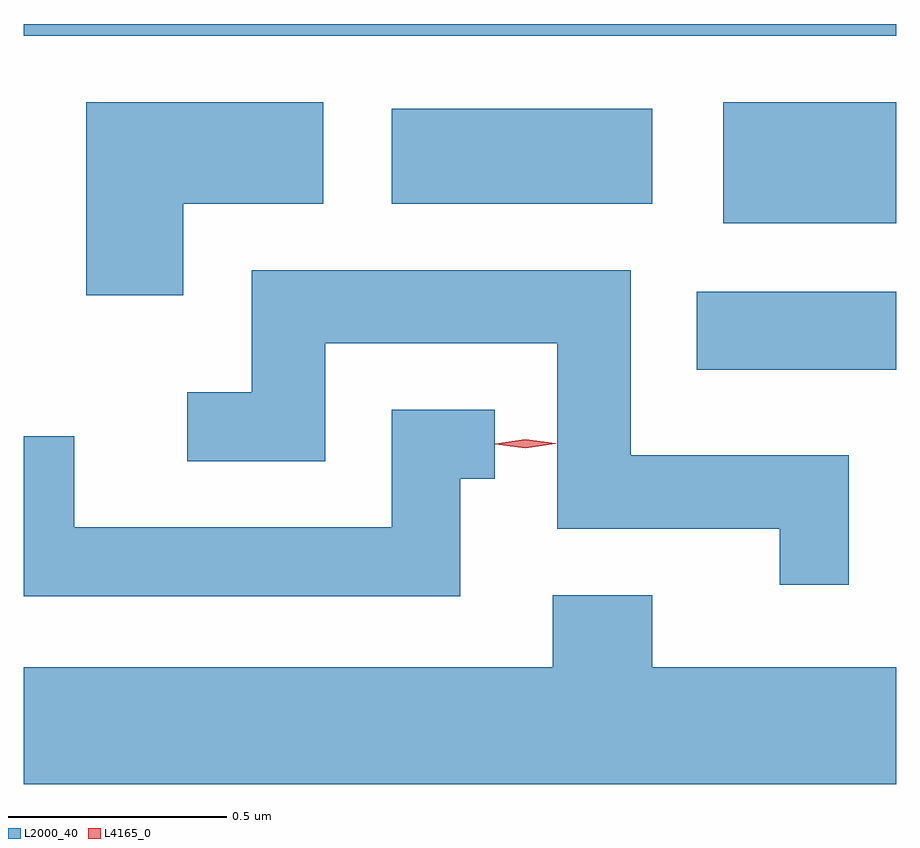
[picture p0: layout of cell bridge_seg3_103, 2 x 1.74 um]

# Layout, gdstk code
import gdstk
lib = gdstk.Library(unit=1e-6, precision=1e-09)
def R(c, l, rs):  # rectangles x0, y0, x1, y1
    for r in rs: c.add(gdstk.rectangle(r[:2], r[2:], *l))
def P(c, l, *ps):  # polygons
    for p in ps: c.add(gdstk.Polygon(p, *l))
L2000_40 = (2000, 40)
L4165_0 = (4165, 0)

bridge_seg3_103 = lib.new_cell('bridge_seg3_103')
R(bridge_seg3_103, L2000_40, [(1004.481,1217.986,1004.938,1218.164), (1004.541,1218.321,1004.938,1218.599), (1003.781,1218.366,1004.379,1218.584), (1002.938,1218.751,1004.938,1218.778)])
P(bridge_seg3_103, L2000_40, [(1003.304,1218.366),(1003.624,1218.366),(1003.624,1218.599),(1003.081,1218.599),(1003.081,1218.156),(1003.304,1218.156)],
  [(1004.829,1217.789),(1004.329,1217.789),(1004.329,1218.214),(1003.461,1218.214),(1003.461,1217.934),(1003.313,1217.934),(1003.313,1217.776),(1003.629,1217.776),(1003.629,1218.046),(1004.161,1218.046),(1004.161,1217.621),(1004.671,1217.621),(1004.671,1217.493),(1004.829,1217.493)],
  [(1003.939,1217.736),(1004.018,1217.736),(1004.018,1217.894),(1003.781,1217.894),(1003.781,1217.624),(1003.054,1217.624),(1003.054,1217.833),(1002.938,1217.833),(1002.938,1217.466),(1003.939,1217.466)],
  [(1004.938,1217.304),(1004.379,1217.304),(1004.379,1217.469),(1004.151,1217.469),(1004.151,1217.304),(1002.938,1217.304),(1002.938,1217.036),(1004.938,1217.036)])
P(bridge_seg3_103, L4165_0, [(1004.088,1217.806),(1004.019,1217.815),(1004.019,1217.816),(1004.019,1217.816),(1004.088,1217.826),(1004.158,1217.817),(1004.158,1217.816),(1004.158,1217.816)])

lib.write_gds('bridge_seg3_103.gds')
